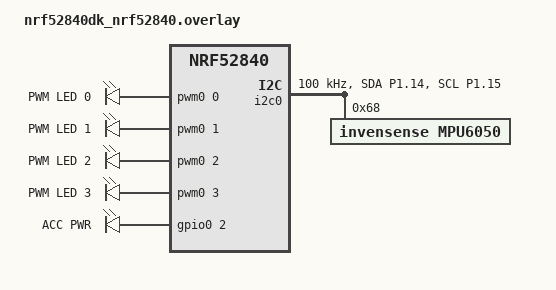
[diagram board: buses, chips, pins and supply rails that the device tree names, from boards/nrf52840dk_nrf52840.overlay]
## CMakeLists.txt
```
#-------------------------------------------------------------------------------
# Zephyr Example Application
#
# Copyright (c) 2021 Nordic Semiconductor ASA
# SPDX-License-Identifier: Apache-2.0

cmake_minimum_required(VERSION 3.13.1)
find_package(Zephyr REQUIRED HINTS $ENV{ZEPHYR_BASE})

project(app LANGUAGES C)

zephyr_include_directories(src)

target_sources(app PRIVATE src/main.c)

target_sources_ifdef(CONFIG_ROLE_CENTRAL app PRIVATE src/central.c)
target_sources_ifdef(CONFIG_ROLE_PERIPHERAL app PRIVATE src/peripheral.c)
```

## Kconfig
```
# Copyright (c) 2021 Nordic Semiconductor ASA
# SPDX-License-Identifier: Apache-2.0
#
# This file is the application Kconfig entry point. All application Kconfig
# options can be defined here or included via other application Kconfig files.
# You can browse these options using the west targets menuconfig (terminal) or
# guiconfig (GUI).

menu "Zephyr"
source "Kconfig.zephyr"
endmenu

module = APP
module-str = APP
source "subsys/logging/Kconfig.template.log_config"

menu "Application options"

config ROLE_PERIPHERAL
    bool "Peripheral role"

config ROLE_CENTRAL
    bool "Central role"

endmenu
```

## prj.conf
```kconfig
# Copyright (c) 2021 Nordic Semiconductor ASA
# SPDX-License-Identifier: Apache-2.0
#
# This file contains selected Kconfig options for the application.

CONFIG_GPIO=y
CONFIG_PWM=y
CONFIG_SMF=y
CONFIG_BT=y
```

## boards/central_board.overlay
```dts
/ {
    pwmleds {
        compatible = "pwm-leds";
        pwm_led0: pwm_led_0 {
            pwms = <&pwm0 0 PWM_MSEC(20) PWM_POLARITY_NORMAL>;
            label = "PWM LED 0";
        };
        pwm_led1: pwm_led_1 {
            pwms = <&pwm0 1 PWM_MSEC(20) PWM_POLARITY_NORMAL>;
            label = "PWM LED 1";
        };
        pwm_led2: pwm_led_2 {
            pwms = <&pwm0 2 PWM_MSEC(20) PWM_POLARITY_NORMAL>;
            label = "PWM LED 2";
        };
        pwm_led3: pwm_led_3 {
            pwms = <&pwm0 3 PWM_MSEC(20) PWM_POLARITY_NORMAL>;
            label = "PWM LED 3";
        };
    };

    aliases {
        pwm-led0 = &pwm_led0;
        pwm-led1 = &pwm_led1;
        pwm-led2 = &pwm_led2;
        pwm-led3 = &pwm_led3;
    };
};

&pinctrl { 
    pwm0_default: pwm0_default {
		group1 {
			psels = 
                <NRF_PSEL(PWM_OUT0, 0, 13)>, 
                <NRF_PSEL(PWM_OUT1, 0, 14)>, 
                <NRF_PSEL(PWM_OUT2, 0, 15)>, 
                <NRF_PSEL(PWM_OUT3, 0, 16)>;
			nordic,invert;
		};
	};

    pwm0_sleep: pwm0_sleep {
		group1 {
			psels = 
                <NRF_PSEL(PWM_OUT0, 0, 13)>, 
                <NRF_PSEL(PWM_OUT1, 0, 14)>, 
                <NRF_PSEL(PWM_OUT2, 0, 15)>, 
                <NRF_PSEL(PWM_OUT3, 0, 16)>;
			low-power-enable;
		};
	};
};

&adafruit_2_8_tft_touch_v2_ili9340 {
     mipi-max-frequency = <16000000>;
    pixel-format = <ILI9XXX_PIXEL_FORMAT_RGB565>;
};
```

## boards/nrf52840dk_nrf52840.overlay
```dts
/ {
    pwmleds {
        compatible = "pwm-leds";
        pwm_led0: pwm_led_0 {
            pwms = <&pwm0 0 PWM_MSEC(20) PWM_POLARITY_NORMAL>;
            label = "PWM LED 0";
        };
        pwm_led1: pwm_led_1 {
            pwms = <&pwm0 1 PWM_MSEC(20) PWM_POLARITY_NORMAL>;
            label = "PWM LED 1";
        };
        pwm_led2: pwm_led_2 {
            pwms = <&pwm0 2 PWM_MSEC(20) PWM_POLARITY_NORMAL>;
            label = "PWM LED 2";
        };
        pwm_led3: pwm_led_3 {
            pwms = <&pwm0 3 PWM_MSEC(20) PWM_POLARITY_NORMAL>;
            label = "PWM LED 3";
        };
    };

    acc_pwr: acc_pwr {
        compatible = "gpio-leds";

        acc_pwr_gpio: acc_pwr_gpio {
            gpios = <&gpio0 2 GPIO_ACTIVE_HIGH>;
            label = "ACC PWR";
        };
    };


    aliases {
        pwm-led0 = &pwm_led0;
        pwm-led1 = &pwm_led1;
        pwm-led2 = &pwm_led2;
        pwm-led3 = &pwm_led3;

        acc-pwr = &acc_pwr_gpio;
    };
};

&pinctrl { 
    pwm0_default: pwm0_default {
		group1 {
			psels = 
                <NRF_PSEL(PWM_OUT0, 0, 13)>, 
                <NRF_PSEL(PWM_OUT1, 0, 14)>, 
                <NRF_PSEL(PWM_OUT2, 0, 15)>, 
                <NRF_PSEL(PWM_OUT3, 0, 16)>;
			nordic,invert;
		};
	};

    pwm0_sleep: pwm0_sleep {
		group1 {
			psels = 
                <NRF_PSEL(PWM_OUT0, 0, 13)>, 
                <NRF_PSEL(PWM_OUT1, 0, 14)>, 
                <NRF_PSEL(PWM_OUT2, 0, 15)>, 
                <NRF_PSEL(PWM_OUT3, 0, 16)>;
			low-power-enable;
		};
	};


    i2c0_default: i2c0_default {
        group1 {
            psels = <NRF_PSEL(TWIM_SDA, 1, 14)>,
                    <NRF_PSEL(TWIM_SCL, 1, 15)>;
            bias-pull-up; 
        };
    };

    i2c0_sleep: i2c0_sleep {
        group1 {
            psels = <NRF_PSEL(TWIM_SDA, 1, 14)>,
                    <NRF_PSEL(TWIM_SCL, 1, 15)>;
            low-power-enable;
        };
    };
};

&i2c0 {
    status = "okay";
    pinctrl-0 = <&i2c0_default>;
    pinctrl-1 = <&i2c0_sleep>;
    pinctrl-names = "default", "sleep";
    clock-frequency = <I2C_BITRATE_STANDARD>;

    mpu6050: mpu6050@68 {
        compatible = "invensense,mpu6050";
        reg = <0x68>;
        label = "MPU6050";
    };
};
```

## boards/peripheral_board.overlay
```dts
/ {
    pwmleds {
        compatible = "pwm-leds";
        pwm_led0: pwm_led_0 {
            pwms = <&pwm0 0 PWM_MSEC(20) PWM_POLARITY_NORMAL>;
            label = "PWM LED 0";
        };
        pwm_led1: pwm_led_1 {
            pwms = <&pwm0 1 PWM_MSEC(20) PWM_POLARITY_NORMAL>;
            label = "PWM LED 1";
        };
        pwm_led2: pwm_led_2 {
            pwms = <&pwm0 2 PWM_MSEC(20) PWM_POLARITY_NORMAL>;
            label = "PWM LED 2";
        };
        pwm_led3: pwm_led_3 {
            pwms = <&pwm0 3 PWM_MSEC(20) PWM_POLARITY_NORMAL>;
            label = "PWM LED 3";
        };
    };

    acc_pwr: acc_pwr {
        compatible = "gpio-leds";

        acc_pwr_gpio: acc_pwr_gpio {
            gpios = <&gpio0 2 GPIO_ACTIVE_HIGH>;
            label = "ACC PWR";
        };
    };


    aliases {
        pwm-led0 = &pwm_led0;
        pwm-led1 = &pwm_led1;
        pwm-led2 = &pwm_led2;
        pwm-led3 = &pwm_led3;

        acc-pwr = &acc_pwr_gpio;
    };
};

&pinctrl { 
    pwm0_default: pwm0_default {
		group1 {
			psels = 
                <NRF_PSEL(PWM_OUT0, 0, 13)>, 
                <NRF_PSEL(PWM_OUT1, 0, 14)>, 
                <NRF_PSEL(PWM_OUT2, 0, 15)>, 
                <NRF_PSEL(PWM_OUT3, 0, 16)>;
			nordic,invert;
		};
	};

    pwm0_sleep: pwm0_sleep {
		group1 {
			psels = 
                <NRF_PSEL(PWM_OUT0, 0, 13)>, 
                <NRF_PSEL(PWM_OUT1, 0, 14)>, 
                <NRF_PSEL(PWM_OUT2, 0, 15)>, 
                <NRF_PSEL(PWM_OUT3, 0, 16)>;
			low-power-enable;
		};
	};


    i2c0_default: i2c0_default {
        group1 {
            psels = <NRF_PSEL(TWIM_SDA, 1, 14)>,
                    <NRF_PSEL(TWIM_SCL, 1, 15)>;
            bias-pull-up; 
        };
    };

    i2c0_sleep: i2c0_sleep {
        group1 {
            psels = <NRF_PSEL(TWIM_SDA, 1, 14)>,
                    <NRF_PSEL(TWIM_SCL, 1, 15)>;
            low-power-enable;
        };
    };
};

&i2c0 {
    status = "okay";
    pinctrl-0 = <&i2c0_default>;
    pinctrl-1 = <&i2c0_sleep>;
    pinctrl-names = "default", "sleep";
    clock-frequency = <I2C_BITRATE_STANDARD>;

    mpu6050: mpu6050@68 {
        compatible = "invensense,mpu6050";
        reg = <0x68>;
        label = "MPU6050";
    };
};
```

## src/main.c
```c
#include <zephyr/kernel.h>

int start_central(void);
int start_peripheral(void);

int main(void)
{
    #if CONFIG_ROLE_CENTRAL
        start_central();
    #elif CONFIG_ROLE_PERIPHERAL
        start_peripheral();
    #else
        printk("Role not defined in configuration.\n");
        return -1;
    #endif

    return 0;
}
```

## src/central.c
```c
#include <math.h>
#include <errno.h>

#include <zephyr/kernel.h>
#include <zephyr/sys/printk.h> 
#include <zephyr/types.h>
#include <zephyr/device.h>

#include <zephyr/bluetooth/bluetooth.h>
#include <zephyr/bluetooth/conn.h>
#include <zephyr/bluetooth/gatt.h>
#include <zephyr/bluetooth/hci.h>
#include <zephyr/bluetooth/uuid.h>

#include <zephyr/drivers/display.h>

#ifndef M_PI
#define M_PI 3.14159265358979323846
#endif

#define DEG_TO_RAD (M_PI / 180.0f)

#define FPS 10
#define WIDTH 320
#define HEIGHT 240
#define SEGMENT_HEIGHT 40

#define Q15_SCALE 32767
#define Q15_SHIFT 15

static struct bt_uuid_128 ACCEL_SERVICE_UUID =
    BT_UUID_INIT_128(BT_UUID_128_ENCODE(0x12345678, 0x1234, 0x5678, 0x1234, 0x56789abcdef0));
static struct bt_uuid_128 ACCEL_CHARACTERISTIC_UUID =
    BT_UUID_INIT_128(BT_UUID_128_ENCODE(0x12345678, 0x1234, 0x5678, 0x1234, 0x56789abcdef2));

static void ble_start_scanning(void);
static uint8_t discover_func(struct bt_conn *conn, const struct bt_gatt_attr *attr,
                             struct bt_gatt_discover_params *params);
static uint8_t notify_func(struct bt_conn *conn, struct bt_gatt_subscribe_params *params,
                           const void *data, uint16_t length);

// Fixed address for reliable and fast connection
static bt_addr_le_t static_addr = {
    .type = BT_ADDR_LE_RANDOM,
    .a = {.val = {0x01, 0x02, 0x03, 0x04, 0x05, 0xC1}},
};

static struct bt_conn *my_connection;
static struct bt_uuid_16 discover_uuid = BT_UUID_INIT_16(0);
static struct bt_gatt_discover_params discover_params;
static struct bt_gatt_subscribe_params subscribe_params;

static const struct device *display_dev = DEVICE_DT_GET(DT_CHOSEN(zephyr_display));

static uint8_t screen[WIDTH * HEIGHT];
static uint16_t screen_segment[WIDTH * SEGMENT_HEIGHT];


static struct display_buffer_descriptor desc = {
    .buf_size = sizeof(screen_segment),
    .width = WIDTH,
    .height = SEGMENT_HEIGHT,
    .pitch = WIDTH,
    .frame_incomplete = true
};


static bool ble_get_adv_device_name_cb(struct bt_data *data, void *user_data)
{
    char *name = user_data;

    if (data->type == BT_DATA_NAME_COMPLETE || data->type == BT_DATA_NAME_SHORTENED)
    {
        /* Copy the name to the user data buffer */
        memcpy(name, data->data, data->data_len);
        name[data->data_len] = '\0'; /* Null-terminate the string */
        return false;                 /* Stop parsing after finding the name */
    }

    return true; /* Continue parsing */
}

static void ble_on_advertisement_received(const bt_addr_le_t *addr, int8_t rssi, uint8_t type,
                                          struct net_buf_simple *ad)
{
    char addr_str[BT_ADDR_LE_STR_LEN];
    int err;

    if (my_connection)
        return;

    // Only connect to device with the static address
    if (bt_addr_le_cmp(addr, &static_addr) != 0)
        return;

    /* We're only interested in connectable events */
    if (type != BT_GAP_ADV_TYPE_ADV_IND && type != BT_GAP_ADV_TYPE_ADV_DIRECT_IND)
        return;

    char name[32] = {0};
    bt_data_parse(ad, ble_get_adv_device_name_cb, name);
    bt_addr_le_to_str(addr, addr_str, sizeof(addr_str));
    printk("Device found: %s (RSSI %d) - '%s'\n", addr_str, rssi, name);

    /* connect only to devices in close proximity */
    if (rssi < -80)
        return;

    if (bt_le_scan_stop())
        return;

    err = bt_conn_le_create(addr, BT_CONN_LE_CREATE_CONN, BT_LE_CONN_PARAM_DEFAULT, &my_connection);
    if (err)
    {
        printk("Create conn to %s failed (%d)\n", addr_str, err);
        ble_start_scanning();
    }
}

static void ble_start_scanning(void)
{
    int err;

    /* This demo doesn't require active scan */
    err = bt_le_scan_start(BT_LE_SCAN_PASSIVE, ble_on_advertisement_received);
    if (err)
    {
        printk("Scanning failed to start (err %d)\n", err);
        return;
    }

    printk("Scanning successfully started\n");
}

static void ble_on_device_connected(struct bt_conn *conn, uint8_t err)
{
    char addr[BT_ADDR_LE_STR_LEN];

    bt_addr_le_to_str(bt_conn_get_dst(conn), addr, sizeof(addr));

    if (err)
    {
        printk("Failed to connect to %s %u %s\n", addr, err, bt_hci_err_to_str(err));

        bt_conn_unref(my_connection);
        my_connection = NULL;

        ble_start_scanning();
        return;
    }

    if (conn != my_connection)
        return;

    printk("Connected: %s\n", addr);

    discover_params.uuid = &ACCEL_SERVICE_UUID.uuid;
    discover_params.func = discover_func;
    discover_params.start_handle = BT_ATT_FIRST_ATTRIBUTE_HANDLE;
    discover_params.end_handle = BT_ATT_LAST_ATTRIBUTE_HANDLE;
    discover_params.type = BT_GATT_DISCOVER_PRIMARY;

    err = bt_gatt_discover(my_connection, &discover_params);
    if (err)
    {
        printk("Discover failed(err %d)\n", err);
        return;
    }
}

static void ble_on_device_disconnected(struct bt_conn *conn, uint8_t reason)
{
    char addr[BT_ADDR_LE_STR_LEN];

    if (conn != my_connection)
        return;

    bt_addr_le_to_str(bt_conn_get_dst(conn), addr, sizeof(addr));

    printk("Disconnected: %s, reason 0x%02x %s\n", addr, reason, bt_hci_err_to_str(reason));

    bt_conn_unref(my_connection);
    my_connection = NULL;

    ble_start_scanning();
}

static uint8_t discover_func(struct bt_conn *conn, const struct bt_gatt_attr *attr,
                             struct bt_gatt_discover_params *params)
{
    int err;

    if (!attr)
    {
        printk("Discover complete\n");
        (void)memset(params, 0, sizeof(*params));
        return BT_GATT_ITER_STOP;
    }

    printk("[ATTRIBUTE] handle %u\n", attr->handle);

    if (!bt_uuid_cmp(discover_params.uuid, &ACCEL_SERVICE_UUID.uuid))
    {
        discover_params.uuid = &ACCEL_CHARACTERISTIC_UUID.uuid;
        discover_params.start_handle = attr->handle + 1;
        discover_params.type = BT_GATT_DISCOVER_CHARACTERISTIC;

        err = bt_gatt_discover(conn, &discover_params);
        if (err)
        {
            printk("Discover failed (err %d)\n", err);
        }
    }
    else if (!bt_uuid_cmp(discover_params.uuid, &ACCEL_CHARACTERISTIC_UUID.uuid))
    {
        memcpy(&discover_uuid, BT_UUID_GATT_CCC, sizeof(discover_uuid));
        discover_params.uuid = &discover_uuid.uuid;
        discover_params.start_handle = attr->handle + 2;
        discover_params.type = BT_GATT_DISCOVER_DESCRIPTOR;
        subscribe_params.value_handle = bt_gatt_attr_value_handle(attr);

        err = bt_gatt_discover(conn, &discover_params);
        if (err)
        {
            printk("Discover failed (err %d)\n", err);
        }
    }
    else
    {
        subscribe_params.notify = notify_func;
        subscribe_params.value = BT_GATT_CCC_NOTIFY;
        subscribe_params.ccc_handle = attr->handle;

        err = bt_gatt_subscribe(conn, &subscribe_params);
        if (err && err != -EALREADY)
        {
            printk("Subscribe failed (err %d)\n", err);
        }
        else
        {
            printk("[SUBSCRIBED]\n");
        }

        return BT_GATT_ITER_STOP;
    }

    return BT_GATT_ITER_STOP;
}

static uint8_t notify_func(struct bt_conn *conn, struct bt_gatt_subscribe_params *params,
                           const void *data, uint16_t length)
{
    if (!data)
    {
        printk("[UNSUBSCRIBED]\n");
        params->value_handle = 0U;
        return BT_GATT_ITER_STOP;
    }

    if (length >= 2)
    {
        uint8_t *vals = (uint8_t *)data;
        printk("[NOTIFICATION] x=%d, y=%d\n", vals[0], vals[1]);

        // Update velocity values based on the tilt of the controller
        // Maps [0, 255] to [-1, 1], 128 represents 0g and means no tilt
    }
    else
    {
        printk("[NOTIFICATION] data too short, length=%u\n", length);
    }

    return BT_GATT_ITER_CONTINUE;
}

BT_CONN_CB_DEFINE(conn_callbacks) = {
    .connected = ble_on_device_connected,
    .disconnected = ble_on_device_disconnected,
};

int send_data_to_display(uint16_t *data, size_t length)
{
    struct display_buffer_descriptor desc = {
        .buf_size = length,
        .width = WIDTH,
        .height = SEGMENT_HEIGHT,
        .pitch = WIDTH,
        .frame_incomplete = true
    };

    int ret = display_write(display_dev, 0, 0, &desc, data);
    if (ret < 0)
    {
        printk("Display write failed!\n");
        return ret;
    }

    return 0;
}

typedef struct {
    uint8_t x, y;
} Vec2_8_t;

typedef struct {
    int16_t x, y;
} Vec2_16_t;

typedef struct {
    int16_t x, y, z;
} Vec3_16_t;

typedef struct {
    Vec3_16_t pos, rot;
    Vec3_16_t vr, vu,vf;
} Transform_t;

typedef struct {
    Transform_t transform;
    uint8_t fov;
} Camera_t;

typedef struct {
    Vec3_16_t pos;
    Vec2_8_t uv;
} Vertex_t;

typedef struct {
    Vertex_t *v1, *v2, *v3;
} Triangle_t;



int start_central(void)
{
    printk("Here");

    if (!device_is_ready(display_dev))
    {
        printk("Display is not ready\n");
        return -1;
    }

    int err = bt_enable(NULL);
    if (err)
    {
        printk("Bluetooth init failed (err %d)\n", err);
        return -1;
    }
    printk("Bluetooth initialized\n");

    // ble_start_scanning();

    display_blanking_off(display_dev);

    Camera_t camera = {{-5, 0, 0}, {0, 90, 0}, 90};




    while (1)
    {

        send_data_to_display(screen_segment, sizeof(screen_segment));
        // for (int y = 0; y < 240; y += 10) {
        //     // printk("Writing row %d...\n", y);
        //     ret = display_write(display_dev, 0, y, &desc, buffer);
        //     for (int i = 0; i < 320 * 10; i++) {
        //         buffer[i] = test_colors[2];
        //     }
        //     // colour += 11
        //     printk("Result: %d\n", colour);

        //     if (ret < 0) {
        //         printk("Display write failed!\n");
        //         break;
        //     }
        // }
        

        
        // k_msleep(1000 / FPS);
    }

    return 0;
}
```

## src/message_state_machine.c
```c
#include <zephyr/smf.h>

#include "BTN.h"
#include "LED.h"
#include "message_state_machine.h"

const enum led_id_t leds[] = {LED0, LED1, LED2, LED3};
const enum btn_id_t btns[] = {BTN0, BTN1, BTN2, BTN3};

const size_t num_leds = sizeof(leds) / sizeof(leds[0]);
const size_t num_btns = sizeof(btns) / sizeof(btns[0]);

static void character_entry_state_entry(void* o);
static enum smf_state_result character_entry_state_run(void* o);
static void character_entry_state_exit(void* o);

enum message_state_machine_states 
{
    CHARACTER_ENTRY_STATE,
    STRING_DECISION_STATE,
};

typedef struct
{
    struct smf_ctx ctx;
    uint16_t count;
} message_state_object_t;

static const struct smf_state message_states[] =
{
    [CHARACTER_ENTRY_STATE] = SMF_CREATE_STATE(character_entry_state_entry, character_entry_state_run, character_entry_state_exit, NULL, NULL),
    [STRING_DECISION_STATE] = SMF_CREATE_STATE(NULL, NULL, NULL, NULL, NULL),
};

static message_state_object_t message_state_object;

void state_machine_init()
{
    message_state_object.count = 0;
    smf_set_initial(SMF_CTX(&message_state_object), &message_states[CHARACTER_ENTRY_STATE]);
}

int state_machine_run()
{
    return smf_run_state(SMF_CTX(&message_state_object));
}

int get_first_button_pressed()
{
    int ret = -1;
    for (int i = num_btns - 1; i >= 0; i--)
    {
        if (BTN_check_clear_pressed(btns[i]))
            ret = i;
    }
    return ret;
}

char *str = NULL;
size_t index = 0;
size_t str_capacity = 0;

static int add_char_to_str(char character)
{
    if ((index + 1) * sizeof(char) > str_capacity)
    {
        str_capacity = str_capacity == 0 ? 16 : str_capacity * 2;
        char *tmp = k_realloc(str, str_capacity);
        if (tmp)
            str = tmp
        else
            return -1;
    }
    str[index] = character;
    str[++index] = "\0"
    return 0;
}

static void clear_str()
{
    index = 0;
    str_capacity = 0;
    str = NULL;
}

static void character_entry_state_entry(void* o)
{
    LED_blink(LED3, LED_1HZ);
}

uint8_t character = 0;

static enum smf_state_result character_entry_state_run(void* o)
{
    if (BTN_is_pressed(BTN0))
        LED_set(LED0, LED_ON);
    else
        LED_set(LED0, LED_OFF);

    if (BTN_is_pressed(BTN1))
        LED_set(LED1, LED_ON);
    else
        LED_set(LED1, LED_OFF);

    int button_pressed = get_first_button_pressed();
    if (button_pressed == -1)
        return SMF_EVENT_HANDLED;
    else if (button_pressed == BTN0 || button_pressed == BTN1)
        character = (character << 1 | button_pressed);
    else if (button_pressed == BTN2)
        character = 0;
    else if (button_pressed == BTN3)
    {
        ret = add_char_to_str(character)
        if (ret == -1)
            return SMFEVENT
        smf_set_state(SMF_CTX(&message_state_object), &message_states[STRING_DECISION_STATE]);
        character = 0;
    }

    return SMF_EVENT_HANDLED;
}

static void character_entry_state_exit(void* o)
{
    LED_set(LED3, LED_OFF);
}

static void string_decision_state_entry(void* o)
{
    LED_blink(LED3, LED_4HZ);
}

static enum smf_state_result string_decision_state_run(void* o)
{
    if (BTN_check_pressed(BTN0) == true || BTN_check_pressed(BTN1) == true)
        character = (character << 1 | get_first_button_pressed());
        smf_set_state(SMF_CTX(&message_state_object), &message_states[CHARACTER_ENTRY_STATE]);
    }
    else if ()
    {

    }
}

static void string_decision_state_exit(void* o)
{
    LED_set(LED3, LED_OFF);
}
```

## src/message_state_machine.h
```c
#ifndef MY_STATE_MACHINE_H
#define MY_STATE_MACHINE_H

void state_machine_init();

int state_machine_run();

#endif // MY_STATE_MACHINE_H
```

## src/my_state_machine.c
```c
#include <zephyr/smf.h>

#include "BTN.h"
#include "LED.h"
#include "my_state_machine.h"

const enum led_id_t leds[] = {LED0, LED1, LED2, LED3};
const enum btn_id_t btns[] = {BTN0, BTN1, BTN2, BTN3};

const size_t num_leds = sizeof(leds) / sizeof(leds[0]);
const size_t num_btns = sizeof(btns) / sizeof(btns[0]);

static void setup_state_entry(void* o);
static enum smf_state_result setup_state_run(void* o);

static void setting_password_state_entry(void* o);
static enum smf_state_result setting_password_state_run(void* o);

static void locked_state_entry(void* o);
static enum smf_state_result locked_state_run(void* o);

static void unlocked_state_entry(void* o);
static enum smf_state_result unlocked_state_run(void* o);

enum password_state_machine_states 
{
    SETUP_STATE,
    SETTING_PASSWORD_STATE,
    LOCKED_STATE,
    UNLOCKED_STATE
};

typedef struct
{
    struct smf_ctx ctx;
    uint16_t count;
} password_state_object_t;

static const struct smf_state password_states[] = {
    [SETUP_STATE] = SMF_CREATE_STATE(setup_state_entry, setup_state_run, NULL, NULL, NULL),
    [SETTING_PASSWORD_STATE] = SMF_CREATE_STATE(setting_password_state_entry, setting_password_state_run, NULL, NULL, NULL),
    [LOCKED_STATE] = SMF_CREATE_STATE(locked_state_entry, locked_state_run, NULL, NULL, NULL),
    [UNLOCKED_STATE] = SMF_CREATE_STATE(unlocked_state_entry, unlocked_state_run, NULL, NULL, NULL),
};

static password_state_object_t password_state_object;

void state_machine_init()
{
    password_state_object.count = 0;
    smf_set_initial(SMF_CTX(&password_state_object), &password_states[SETUP_STATE]);
}

int state_machine_run()
{
    return smf_run_state(SMF_CTX(&password_state_object));
}

int get_first_button_pressed()
{
    int ret = -1;
    for (int i = num_btns - 1; i >= 0; i--)
    {
        if (BTN_check_clear_pressed(btns[i]))
            ret = i;
    }
    return ret;
}


// each two bits represents a button
// password can be different lengths

// password is 1233
// uint16_t password = 0b01101111;
// uint8_t passwordLength = 4;

// password is 12332133
uint16_t password = 0b0110111110011111;
uint8_t password_length = 8;
uint16_t input = 0;

// used to clear any bits past the length of the password
uint16_t password_cap;


static void setup_state_entry(void* o)
{
    LED_set(LED3, LED_ON);
}

static enum smf_state_result setup_state_run(void* o)
{
    if (password_state_object.count < 3000)
        password_state_object.count++;
    else
    {
        password_state_object.count = 0;
        password_cap = 0b1111111111111111 >> (16 - (password_length * 2));
        smf_set_state(SMF_CTX(&password_state_object), &password_states[LOCKED_STATE]);
    }
    if (get_first_button_pressed() == BTN3)
    {
        password_state_object.count = 0;
        smf_set_state(SMF_CTX(&password_state_object), &password_states[SETTING_PASSWORD_STATE]);
    }
    return SMF_EVENT_HANDLED;
}

static void setting_password_state_entry(void* o)
{
    password = 0;
    password_length = 0;
}

static enum smf_state_result setting_password_state_run(void* o)
{
    int button_pressed = get_first_button_pressed(btns);
    if (button_pressed == -1)
        return SMF_EVENT_HANDLED;
    if (button_pressed == BTN3)
    {
        password_cap = 0b1111111111111111 >> (16 - (password_length * 2));
        smf_set_state(SMF_CTX(&password_state_object), &password_states[LOCKED_STATE]);
    }
    else
    {
        password = (password << 2 | (button_pressed + 1));
        if (password_length < 8)
            password_length++;
    }
    return SMF_EVENT_HANDLED;
}

static void locked_state_entry(void* o)
{
    LED_set(LED3, LED_OFF);
    LED_set(LED0, LED_ON);
}

static enum smf_state_result locked_state_run(void* o)
{
    int button_pressed = get_first_button_pressed();
    if (button_pressed == -1)
        return SMF_EVENT_HANDLED;
    if (button_pressed == BTN3)
    {
        if (password == input)
        {
            printk("Correct!\n");
            smf_set_state(SMF_CTX(&password_state_object), &password_states[UNLOCKED_STATE]);
        }
        else
            printk("Incorrect!\n");
        input = 0;
    }
    else
        // add button pressed to front of input and clear bits that are passed the length of the password
        input = (input << 2 | (button_pressed + 1)) & password_cap;
    return SMF_EVENT_HANDLED;
}

static void unlocked_state_entry(void* o)
{
    LED_set(LED0, LED_OFF);
}

static enum smf_state_result unlocked_state_run(void* o)
{
    if (get_first_button_pressed() != -1)
        smf_set_state(SMF_CTX(&password_state_object), &password_states[LOCKED_STATE]);
    return SMF_EVENT_HANDLED;
}
```

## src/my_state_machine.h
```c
#ifndef MY_STATE_MACHINE_H
#define MY_STATE_MACHINE_H

void state_machine_init();

int state_machine_run();

#endif // MY_STATE_MACHINE_H
```

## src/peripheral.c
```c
#include <inttypes.h>

#include <zephyr/kernel.h>
#include <zephyr/sys/printk.h>
#include <zephyr/device.h>

#include <zephyr/drivers/gpio.h>
#include <zephyr/drivers/i2c.h>

#include <zephyr/bluetooth/bluetooth.h>
#include <zephyr/bluetooth/gatt.h>

#define SLEEP_MS 50

#define ACC_PWR_NODE DT_ALIAS(acc_pwr)
static const struct gpio_dt_spec acc_power = GPIO_DT_SPEC_GET(ACC_PWR_NODE, gpios);

#define I2C0_NODE DT_NODELABEL(i2c0)
static const struct device *i2c_dev = DEVICE_DT_GET(I2C0_NODE);

#define ACC_I2C_ADR         0x68
#define REG_PWR_MGMT_1      0x6B
#define REG_DATA_START      0x3B

#define GRAVITY 16384

#define ACCEL_SERVICE_UUID BT_UUID_128_ENCODE(0x12345678, 0x1234, 0x5678, 0x1234, 0x56789abcdef0)
#define ACCEL_CHARACTERISTIC_UUID BT_UUID_128_ENCODE(0x12345678, 0x1234, 0x5678, 0x1234, 0x56789abcdef2)

static const struct bt_uuid_128 accel_service_uuid = BT_UUID_INIT_128(ACCEL_SERVICE_UUID);
static const struct bt_uuid_128 accel_characteristic_uuid = BT_UUID_INIT_128(ACCEL_CHARACTERISTIC_UUID);

// Fixed address for reliable and fast connection
static bt_addr_le_t static_addr = {
    .type = BT_ADDR_LE_RANDOM,
    .a = {.val = {0x01, 0x02, 0x03, 0x04, 0x05, 0xC1}},
};

static const struct bt_data accel_advertising_data[] = {
    BT_DATA_BYTES(BT_DATA_FLAGS, (BT_LE_AD_GENERAL | BT_LE_AD_NO_BREDR)),
    BT_DATA_BYTES(BT_DATA_UUID128_ALL, ACCEL_SERVICE_UUID),
};

static const struct bt_data accel_scan_response_data[] = {
    BT_DATA(BT_DATA_NAME_COMPLETE, CONFIG_BT_DEVICE_NAME, sizeof(CONFIG_BT_DEVICE_NAME) - 1),
};

BT_GATT_SERVICE_DEFINE(
    accel_service,
    BT_GATT_PRIMARY_SERVICE(&accel_service_uuid),

    BT_GATT_CHARACTERISTIC(
        &accel_characteristic_uuid.uuid,
        BT_GATT_CHRC_NOTIFY,
        BT_GATT_PERM_NONE,
        NULL, NULL, NULL
    ),
    BT_GATT_CCC(
        NULL,
        BT_GATT_PERM_READ | BT_GATT_PERM_WRITE
    ),
);

// Holds x and y tilt values to be sent by bluetooth
static uint8_t accel_x_y[2] = {0, 0};

int init_accel(const struct device *i2c_dev)
{
    // Wake accelerometer from sleep
    uint8_t config[] = {REG_PWR_MGMT_1, 0x00};
    return i2c_write(i2c_dev, config, sizeof(config), ACC_I2C_ADR);
}

void update_accel_data(const struct device *i2c_dev)
{
    uint8_t raw_data[6]; 
    uint8_t reg = REG_DATA_START;

    // Read raw accelerometer data
    if (i2c_write_read(i2c_dev, ACC_I2C_ADR, &reg, 1, raw_data, 6) != 0)
    {
        printk("Failed to read accelerometer\n");
        return;
    }
    
    // When holding steady and just tilting, values range [-1g, +1g]. g = 16384
    int16_t x = (raw_data[0] << 8) | raw_data[1];
    int16_t y = (raw_data[2] << 8) | raw_data[3];

    // Maps [-1g, +1g] to [0, 255]
    int16_t x_mapped = ((int32_t)(x + GRAVITY) * 255) / (2 * GRAVITY);
    int16_t y_mapped = ((int32_t)(y + GRAVITY) * 255) / (2 * GRAVITY);

    // Clamp values
    accel_x_y[0] = (uint8_t) CLAMP(x_mapped, 0, 255);
    accel_x_y[1] = (uint8_t) CLAMP(y_mapped, 0, 255);

    printk("X: %3d  Y: %3d\n", x, y);
}

void notify_accel_data(void)
{
    bt_gatt_notify(NULL, &accel_service.attrs[1], accel_x_y, sizeof(accel_x_y));
}

int start_peripheral(void)
{
    int err;

    if (!gpio_is_ready_dt(&acc_power))
    {
        printk("GPIO not ready\n");
        return -1;
    }
    
    err = gpio_pin_configure_dt(&acc_power, GPIO_OUTPUT_ACTIVE);
    if (err != 0)
        return err;

    gpio_pin_set_dt(&acc_power, 1);

    // Give accelerometer time to stablise 
    k_msleep(200);

    if (!device_is_ready(i2c_dev))
    {
        printk("I2C not ready\n");
        return -1;
    }

    if (init_accel(i2c_dev) != 0)
    {
        printk("Failed to wake accelerometer\n");
        return -1;
    }

    // Use static address
    if (bt_id_create(&static_addr, NULL))
        return -1;

    err = bt_enable(NULL);
    if (err)
    {
        printk("Bluetooth init failed (err %d)\n", err);
        return -1;
    }
    printk("Bluetooth initialized\n");
    
    if (bt_le_adv_start(BT_LE_ADV_CONN_FAST_1, accel_advertising_data, ARRAY_SIZE(accel_advertising_data), accel_scan_response_data, ARRAY_SIZE(accel_scan_response_data)))
    {
        printk("Failed to start advertising\n");
        return -1;
    }
        
    while (1)
    {
        update_accel_data(i2c_dev);
        notify_accel_data();
        k_msleep(SLEEP_MS);
    }

    return 0;
}
```
